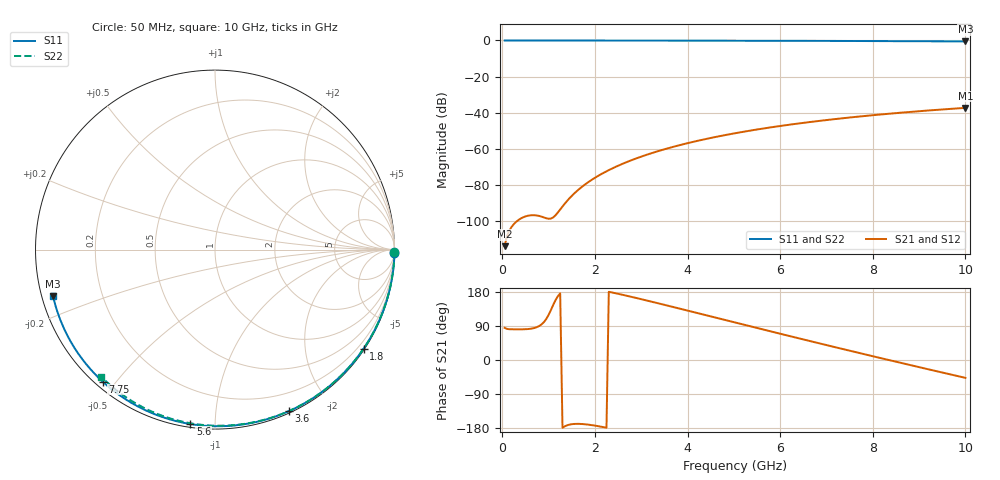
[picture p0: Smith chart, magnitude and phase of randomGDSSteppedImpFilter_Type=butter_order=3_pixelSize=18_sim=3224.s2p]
! freq	dB(S11)	phase(S11)	dB(S12)	phase(S12)
!  dB(S21)	phase(S21)	dB(S22)	phase(S22)
!S-par simulation data
#  GHz  S  DB  R 50
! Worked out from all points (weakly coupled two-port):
!   200 points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, 50 MHz to 10 GHz, reference 50 ohm
!   highest |S21| = -37.36 dB at 10 GHz (marker M1); lowest = -114.0 dB at 50 MHz (marker M2)
!   lowest |S11| = -0.5 dB at 10 GHz (marker M3), VSWR 31.80, Z = 1.6 - j7.06 ohm
!   |S11| at or under -10 dB: nowhere
!   |S22| runs from -0.4 to 0.0 dB; largest |S21 - S12| = 0
!   S11 on the Smith chart (normalised r, x): 50 MHz: open; 1.8 GHz: 0.03, -3.30; 3.6 GHz: 0.02, -1.55; 5.6 GHz: 0.02, -0.87; 7.75 GHz: 0.02, -0.46; 10 GHz: 0.03, -0.14
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0.05  -0.00 -1.0  -114.01 84.9  -114.01 84.9  -0.00 -0.8
0.45  -0.01 -8.6  -98.01 81.0  -98.01 81.0  -0.01 -6.8
0.85  -0.02 -16.1  -97.66 94.2  -97.66 94.2  -0.02 -12.9
1.3  -0.03 -24.5  -92.01 -178.7  -92.01 -178.7  -0.02 -19.6
1.75  -0.04 -32.8  -80.51 -169.2  -80.51 -169.2  -0.03 -26.3
1.8  -0.04 -33.7  -79.56 -169.7  -79.56 -169.7  -0.03 -27.0
1.95  -0.05 -36.5  -76.93 -172.2  -76.93 -172.2  -0.04 -29.2
2.1  -0.05 -39.2  -74.61 -175.2  -74.61 -175.2  -0.04 -31.4
2.3  -0.05 -42.8  -71.87 180.0  -71.87 180.0  -0.04 -34.3
2.5  -0.06 -46.4  -69.44 174.7  -69.44 174.7  -0.05 -37.2
2.9  -0.07 -53.5  -65.30 163.5  -65.30 163.5  -0.06 -42.9
3.4  -0.08 -62.1  -61.07 148.7  -61.07 148.7  -0.07 -50.0
3.6  -0.09 -65.6  -59.59 142.6  -59.59 142.6  -0.07 -52.8
4.3  -0.11 -77.3  -55.15 121.2  -55.15 121.2  -0.09 -62.4
5.05  -0.14 -89.4  -51.31 98.2  -51.31 98.2  -0.11 -72.4
5.6  -0.16 -98.1  -48.94 81.4  -48.94 81.4  -0.13 -79.5
6.15  -0.19 -106.5  -46.86 64.8  -46.86 64.8  -0.15 -86.5
6.7  -0.22 -114.9  -45.03 48.3  -45.03 48.3  -0.18 -93.3
7.75  -0.30 -130.4  -42.05 17.2  -42.05 17.2  -0.24 -105.9
8.35  -0.36 -139.3  -40.60 -0.2  -40.60 -0.2  -0.29 -112.9
9.2  -0.45 -151.8  -38.81 -24.5  -38.81 -24.5  -0.36 -122.7
10  -0.55 -163.9  -37.36 -47.1  -37.36 -47.1  -0.45 -131.7
